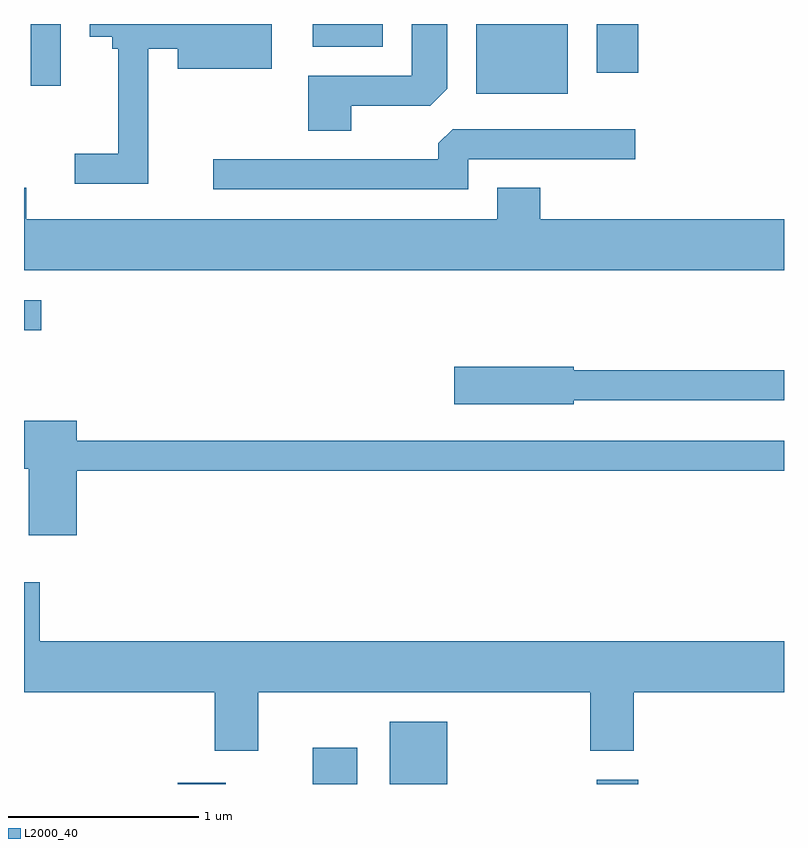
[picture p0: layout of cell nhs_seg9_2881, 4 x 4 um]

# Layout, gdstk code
import gdstk
lib = gdstk.Library(unit=1e-6, precision=1e-09)
def R(c, l, rs):  # rectangles x0, y0, x1, y1
    for r in rs: c.add(gdstk.rectangle(r[:2], r[2:], *l))
def P(c, l, *ps):  # polygons
    for p in ps: c.add(gdstk.Polygon(p, *l))
L2000_40 = (2000, 40)

nhs_seg9_2881 = lib.new_cell('nhs_seg9_2881')
R(nhs_seg9_2881, L2000_40, [(270.421,2002.432,270.674,2002.439), (271.131,2002.432,271.364,2002.624), (271.536,2002.432,271.839,2002.759), (272.626,2002.432,272.844,2002.454), (269.611,2004.821,269.703,2004.979), (271.991,2006.066,272.474,2006.432), (269.646,2006.108,269.804,2006.432), (272.626,2006.176,272.844,2006.432), (271.131,2006.311,271.499,2006.432)])
P(nhs_seg9_2881, L2000_40, [(271.334,2006.001),(271.749,2006.001),(271.76,2006.013),(271.839,2006.092),(271.839,2006.432),(271.651,2006.432),(271.651,2006.159),(271.106,2006.159),(271.106,2005.871),(271.334,2005.871)],
  [(270.264,2006.301),(270.421,2006.301),(270.421,2006.196),(270.914,2006.196),(270.914,2006.432),(269.956,2006.432),(269.956,2006.366),(270.076,2006.366),(270.076,2006.301),(270.106,2006.301),(270.106,2005.749),(269.878,2005.749),(269.878,2005.591),(270.264,2005.591)],
  [(271.949,2005.721),(272.828,2005.721),(272.828,2005.879),(271.867,2005.879),(271.791,2005.804),(271.791,2005.719),(270.608,2005.719),(270.608,2005.561),(271.949,2005.561)],
  [(273.611,2005.404),(272.329,2005.404),(272.329,2005.569),(272.101,2005.569),(272.101,2005.404),(269.624,2005.404),(269.624,2005.569),(269.611,2005.569),(269.611,2005.136),(273.611,2005.136)],
  [(272.504,2004.451),(273.611,2004.451),(273.611,2004.609),(272.504,2004.609),(272.504,2004.629),(271.876,2004.629),(271.876,2004.431),(272.504,2004.431)],
  [(269.889,2004.081),(273.611,2004.081),(273.611,2004.239),(269.889,2004.239),(269.889,2004.344),(269.611,2004.344),(269.611,2004.091),(269.636,2004.091),(269.636,2003.741),(269.889,2003.741)],
  [(269.694,2003.494),(269.611,2003.494),(269.611,2002.916),(270.616,2002.916),(270.616,2002.606),(270.844,2002.606),(270.844,2002.916),(272.591,2002.916),(272.591,2002.606),(272.819,2002.606),(272.819,2002.916),(273.611,2002.916),(273.611,2003.184),(269.694,2003.184)])

lib.write_gds('nhs_seg9_2881.gds')
